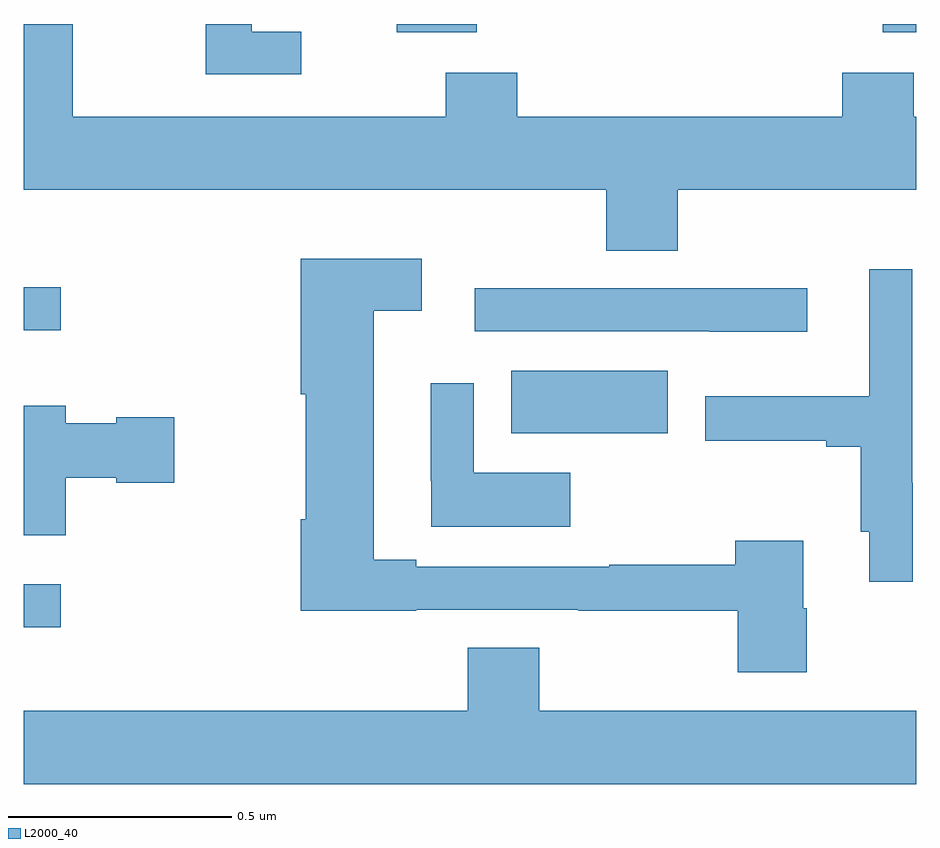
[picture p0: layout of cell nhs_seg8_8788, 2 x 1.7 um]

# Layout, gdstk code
import gdstk
lib = gdstk.Library(unit=1e-6, precision=1e-09)
def R(c, l, rs):  # rectangles x0, y0, x1, y1
    for r in rs: c.add(gdstk.rectangle(r[:2], r[2:], *l))
def P(c, l, *ps):  # polygons
    for p in ps: c.add(gdstk.Polygon(p, *l))
L2000_40 = (2000, 40)

nhs_seg8_8788 = lib.new_cell('nhs_seg8_8788')
R(nhs_seg8_8788, L2000_40, [(228,1087.547,228.082,1087.644), (229.093,1087.982,229.443,1088.122), (228,1088.213,228.082,1088.31), (228.836,1088.882,229.015,1088.9), (229.925,1088.882,230,1088.9)])
P(nhs_seg8_8788, L2000_40, [(228,1088.9),(228,1088.528),(229.306,1088.528),(229.306,1088.392),(229.466,1088.392),(229.466,1088.528),(230,1088.528),(230,1088.692),(229.995,1088.692),(229.995,1088.791),(229.835,1088.791),(229.835,1088.692),(229.106,1088.692),(229.106,1088.791),(228.946,1088.791),(228.946,1088.692),(228.109,1088.692),(228.109,1088.9)],
  [(228.622,1088.883),(228.511,1088.883),(228.511,1088.9),(228.407,1088.9),(228.407,1088.787),(228.622,1088.787)],
  [(229.755,1087.59),(229.747,1087.59),(229.747,1087.741),(229.595,1087.741),(229.595,1087.688),(229.312,1087.688),(229.312,1087.683),(228.88,1087.683),(228.88,1087.699),(228.784,1087.699),(228.784,1088.257),(228.892,1088.257),(228.892,1088.374),(228.62,1088.374),(228.62,1088.07),(228.632,1088.07),(228.632,1087.79),(228.62,1087.79),(228.62,1087.585),(228.88,1087.585),(228.88,1087.587),(229.243,1087.587),(229.243,1087.585),(229.6,1087.585),(229.6,1087.446),(229.755,1087.446)],
  [(229.993,1087.871),(229.992,1087.871),(229.992,1088.35),(229.895,1088.35),(229.895,1088.065),(229.528,1088.065),(229.528,1087.966),(229.799,1087.966),(229.799,1087.952),(229.876,1087.952),(229.876,1087.762),(229.895,1087.762),(229.895,1087.65),(229.993,1087.65)],
  [(229.756,1088.307),(229.011,1088.307),(229.011,1088.211),(229.536,1088.211),(229.536,1088.21),(229.756,1088.21)],
  [(229.225,1087.894),(229.008,1087.894),(229.008,1088.095),(228.912,1088.095),(228.912,1087.876),(228.913,1087.876),(228.913,1087.773),(229.225,1087.773)],
  [(228.094,1087.883),(228.207,1087.883),(228.207,1087.871),(228.337,1087.871),(228.337,1088.018),(228.207,1088.018),(228.207,1088.005),(228.094,1088.005),(228.094,1088.044),(228,1088.044),(228,1087.754),(228.094,1087.754)],
  [(230,1087.36),(229.155,1087.36),(229.155,1087.502),(228.995,1087.502),(228.995,1087.36),(228,1087.36),(228,1087.196),(230,1087.196)])

lib.write_gds('nhs_seg8_8788.gds')
